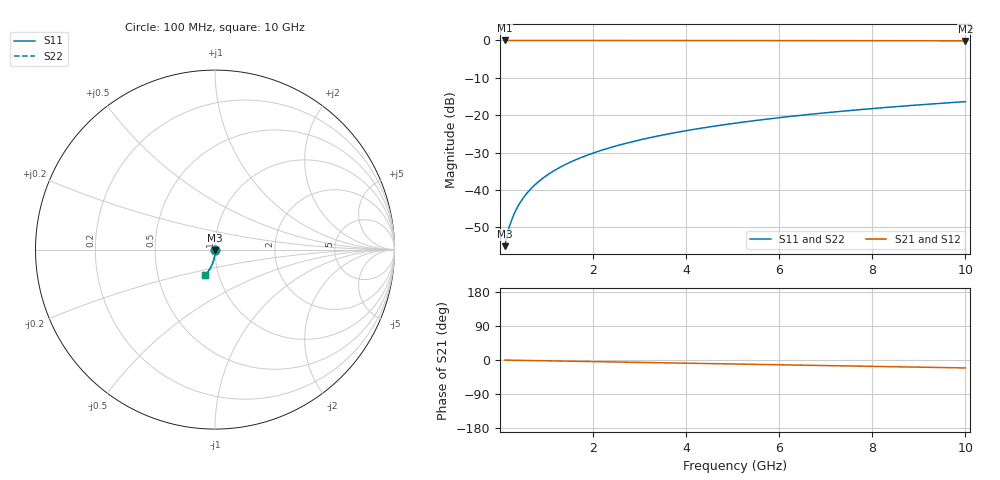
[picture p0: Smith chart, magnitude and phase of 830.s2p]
# Hz S RI R 50.00
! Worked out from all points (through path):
!   100 points, 100 MHz to 10 GHz, reference 50 ohm
!   highest |S21| = -0.01 dB at 100 MHz (marker M1); lowest = -0.1 dB at 10 GHz (marker M2)
!   group delay of S21, straight-line fit = 5.83 ps
!   lowest |S11| = -55.0 dB at 100 MHz (marker M3), VSWR 1.00, Z = 50.1 - j0.156 ohm
!   |S11| at or under -10 dB: start of sweep to end of sweep
!   |S22| runs from -55.0 to -16.4 dB; largest |S21 - S12| = 1e-13
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1e8  0.000838 -0.00156  0.9991 -0.00367  0.9991 -0.00367  0.000838 -0.00156
2e8  0.000824 -0.00312  0.9991 -0.00734  0.9991 -0.00734  0.000824 -0.00312
3e8  0.000797 -0.00468  0.9991 -0.011  0.9991 -0.011  0.000797 -0.00468
4e8  0.000758 -0.00623  0.999 -0.0147  0.999 -0.0147  0.000758 -0.00623
5e8  0.000707 -0.00779  0.9989 -0.0183  0.9989 -0.0183  0.000707 -0.00779
6e8  0.000644 -0.00935  0.9988 -0.022  0.9988 -0.022  0.000644 -0.00935
7e8  0.00057 -0.0109  0.9987 -0.0257  0.9987 -0.0257  0.00057 -0.0109
8e8  0.000484 -0.0125  0.9986 -0.0294  0.9986 -0.0294  0.000484 -0.0125
9e8  0.000386 -0.014  0.9985 -0.033  0.9985 -0.033  0.000386 -0.014
1.1e9  0.000157 -0.0171  0.9981 -0.0404  0.9981 -0.0404  0.000157 -0.0171
1.4e9  -0.000274 -0.0218  0.9975 -0.0513  0.9975 -0.0513  -0.000274 -0.0218
1.8e9  -0.00101 -0.028  0.9965 -0.066  0.9965 -0.066  -0.00101 -0.028
2.1e9  -0.00168 -0.0326  0.9956 -0.0769  0.9956 -0.0769  -0.00168 -0.0326
2.5e9  -0.00273 -0.0388  0.9941 -0.0915  0.9941 -0.0915  -0.00273 -0.0388
2.9e9  -0.00396 -0.0449  0.9924 -0.1061  0.9924 -0.1061  -0.00396 -0.0449
3.4e9  -0.00576 -0.0525  0.9898 -0.1243  0.9898 -0.1243  -0.00576 -0.0525
4.2e9  -0.0092 -0.0644  0.985 -0.1531  0.985 -0.1531  -0.0092 -0.0644
5.1e9  -0.0139 -0.0776  0.9784 -0.1854  0.9784 -0.1854  -0.0139 -0.0776
5.9e9  -0.0188 -0.0891  0.9715 -0.2137  0.9715 -0.2137  -0.0188 -0.0891
6.7e9  -0.0243 -0.1002  0.9637 -0.2418  0.9637 -0.2418  -0.0243 -0.1002
8.4e9  -0.0382 -0.1226  0.944 -0.3001  0.944 -0.3001  -0.0382 -0.1226
1e10  -0.0536 -0.142  0.9218 -0.3533  0.9218 -0.3533  -0.0536 -0.142
